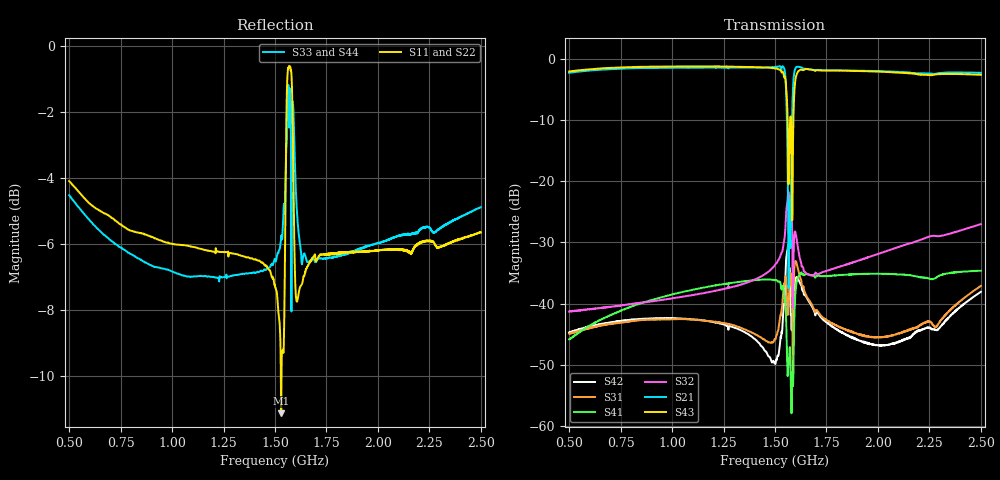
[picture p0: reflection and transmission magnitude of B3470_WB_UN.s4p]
! Matrix data file written by TouchstoneData, EPCOS AG
! FILENAME: "newformat_LZ68A_2_WB.s4p"
! COMMENT: "(LZ68A_2_WB.s4p) EPCOS AG 12.10.2011 14:58:1"
! INFO: nport=4, nfreq=1601
! DATE: "Wed Oct 12 15:07:54 2011"
! USER: "Daniel Harbusch"
! port | pin | signal
!  1  |  4  |  out
!  2  |  3  |  coupling
!  3  |  2  |  coupling
!  4  |  1  |  in
# MHZ S MA R 50
! freq  magS11 angS11  magS12 angS12  magS13 angS13  magS14 angS14  ...
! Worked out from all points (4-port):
!   1601 points, 500 MHz to 2.5 GHz, reference 50 ohm
!   strongest paths, dB at 500 MHz, 1 GHz, 1.5 GHz, 2 GHz, 2.5 GHz:
!     S43: -2.1, -1.3, -1.6, -2.1, -2.6
!     S21: -2.3, -1.5, -1.3, -2.0, -2.3
!     S32: -41.3, -39.2, -33.7, -31.9, -27.0
!     S41: -45.8, -38.5, -36.2, -35.1, -34.6
!     S31: -44.9, -42.6, -45.8, -45.4, -37.1
!     S42: -44.7, -42.4, -49.8, -46.8, -38.1
!   lowest |S11| = -11.1 dB at 1.53 GHz (marker M1), VSWR 1.77, Z = 29.3 - j7.78 ohm
!   |S11| at or under -10 dB: 1.528287 GHz to 1.531681 GHz (3.395 MHz wide, 0.222 % of centre)
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500  0.6247 -62.2  0.7691 21.0  0.005683 66.3  0.00511 120.2
     0.7683 21.0  0.6221 -74.0  0.00861 50.4  0.005809 66.7
     0.005672 66.2  0.008593 50.3  0.5948 -74.1  0.7865 20.7
     0.0051 120.3  0.005804 66.7  0.787 20.7  0.5989 -62.0
1530  0.2778 -153.8  0.8129 -53.4  0.00837 -137.7  0.01334 -50.8
      0.8127 -53.5  0.3903 -125.1  0.02543 126.8  0.005344 -148.5
      0.008395 -137.6  0.02542 126.8  0.5157 -139.4  0.7946 -48.6
      0.01333 -50.7  0.005353 -148.5  0.7951 -48.6  0.5079 -142.3
1550  0.5428 76.0  0.7293 -99.3  0.01629 160.6  0.01043 -144.1
      0.7289 -99.3  0.5424 -107.1  0.04048 139.5  0.0152 179.6
      0.01627 160.7  0.04043 139.6  0.6135 -149.1  0.6914 -69.7
      0.01043 -144.1  0.0152 179.6  0.6918 -69.7  0.596 179.0
1570  0.9316 -49.3  0.07044 -4.0  0.01478 144.4  0.004222 81.0
      0.07039 -3.9  0.8157 -162.5  0.07599 82.1  0.01963 20.0
      0.01477 144.5  0.0759 82.2  0.858 148.9  0.1669 -11.1
      0.004236 81.2  0.01965 20.0  0.1669 -11.1  0.8816 50.3
1585  0.7956 -97.0  0.4421 85.9  0.006874 47.6  0.002755 154.1
      0.4418 85.9  0.756 106.3  0.02218 13.1  0.007671 121.3
      0.006864 47.8  0.02216 13.2  0.8245 61.8  0.06062 56.4
      0.002758 154.2  0.007672 121.4  0.06061 56.4  0.9117 -31.1
1606.25  0.4102 -92.6  0.8601 16.7  0.02097 74.3  0.01531 119.3
         0.8594 16.7  0.3873 -48.3  0.03268 60.5  0.01648 88.6
         0.02097 74.3  0.03263 60.5  0.563 -62.7  0.7535 15.7
         0.0153 119.4  0.01647 88.6  0.7538 15.7  0.575 -79.5
2500  0.5227 -120.3  0.7673 -42.1  0.01393 -142.5  0.01855 -36.8
      0.7671 -42.1  0.5254 -147.2  0.04463 123.3  0.01247 -149.4
      0.01394 -142.5  0.04462 123.5  0.5707 -142.4  0.7397 -44.3
      0.01856 -36.9  0.01249 -149.4  0.7397 -44.4  0.5655 -129.8
